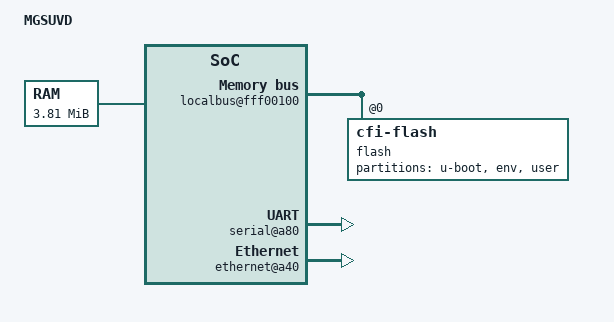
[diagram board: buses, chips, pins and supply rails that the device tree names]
/*
 * MGSUVD Device Tree Source
 *
 * Copyright 2008 DENX Software Engineering GmbH
 * Heiko Schocher <hs@denx.de>
 *
 * This program is free software; you can redistribute  it and/or modify it
 * under  the terms of  the GNU General  Public License as published by the
 * Free Software Foundation;  either version 2 of the  License, or (at your
 * option) any later version.
 */


/ {
	model = "MGSUVD";
	compatible = "keymile,mgsuvd";
	#address-cells = <1>;
	#size-cells = <1>;

	cpus {
		#address-cells = <1>;
		#size-cells = <0>;

		PowerPC,866@0 {
			device_type = "cpu";
			reg = <0>;
			d-cache-line-size = <d#16>;
			i-cache-line-size = <d#16>;
			d-cache-size = <d#8192>;
			i-cache-size = <d#8192>;
			timebase-frequency = <0>;  /* Filled in by u-boot */
			bus-frequency = <0>;  /* Filled in by u-boot */
			clock-frequency = <0>; /* Filled in by u-boot */
			interrupts = <f 2>;	// decrementer interrupt
			interrupt-parent = <&PIC>;
		};
	};

	memory {
		device_type = "memory";
		reg = <00000000 4000000>;  /* Filled in by u-boot */
	};

	localbus@fff00100 {
		compatible = "fsl,mpc885-localbus", "fsl,pq1-localbus";
		#address-cells = <2>;
		#size-cells = <1>;
		reg = <fff00100 40>;

		ranges = <
			0 0 f0000000 01000000
		>;  /* Filled in by u-boot */

		flash@0,0 {
			compatible = "cfi-flash";
			reg = <0 0 1000000>;
			#address-cells = <1>;
			#size-cells = <1>;
			bank-width = <1>;
			device-width = <1>;
			partition@0 {
				label = "u-boot";
				reg = <0 80000>;
			};
			partition@40000 {
				label = "env";
				reg = <80000 20000>;
			};
			partition@80000 {
				label = "user";
				reg = <a0000 f60000>;
			};
		};
	};

	soc@fff00000 {
		compatible = "fsl,mpc885", "fsl,pq1-soc";
		#address-cells = <1>;
		#size-cells = <1>;
		device_type = "soc";
		ranges = <0 fff00000 00004000>;

		// Temporary -- will go away once kernel uses ranges for get_immrbase().
		reg = <fff00000 4000>;

		PIC: interrupt-controller@0 {
			interrupt-controller;
			#interrupt-cells = <2>;
			reg = <0 24>;
			compatible = "fsl,mpc885-pic", "fsl,pq1-pic";
		};

		cpm@9c0 {
			#address-cells = <1>;
			#size-cells = <1>;
			compatible = "fsl,mpc885-cpm", "fsl,cpm1";
			command-proc = <9c0>;
			interrupts = <0>;	// cpm error interrupt
			interrupt-parent = <&CPM_PIC>;
			reg = <9c0 10>;
			ranges;

			muram@2000 {
				#address-cells = <1>;
				#size-cells = <1>;
				ranges = <0 2000 2000>;

				data@0 {
					compatible = "fsl,cpm-muram-data";
					reg = <800 1800>;
				};
			};

			brg@9f0 {
				compatible = "fsl,mpc885-brg",
				             "fsl,cpm1-brg",
				             "fsl,cpm-brg";
				reg = <9f0 10>;
				clock-frequency = <3ef1480>;
			};

			CPM_PIC: interrupt-controller@930 {
				interrupt-controller;
				#interrupt-cells = <1>;
				interrupts = <5 2 0 2 20 2>;
				interrupt-parent = <&PIC>;
				reg = <930 20>;
				compatible = "fsl,mpc885-cpm-pic",
				             "fsl,cpm1-pic";
			};

			// MON-1
			serial@a80 {
				device_type = "serial";
				compatible = "fsl,mpc885-smc-uart",
				             "cpm_uart",
				             "fsl,cpm1-smc-uart";
				model = "SMC";
				device-id = <1>;
				reg = <a80 10 3fc0 40>;
				interrupts = <4>;
				interrupt-parent = <&CPM_PIC>;
				fsl,cpm-brg = <1>;
				fsl,cpm-command = <0090>;
				current-speed = <0>; /* Filled in by u-boot */
			};

			ethernet@a40 {
				device_type = "network";
				compatible = "fs_enet",
				             "fsl,cpm1-scc-enet";
				model = "SCC";
				device-id = <3>;
				reg = <a40 18 3e00 b0>;
				mac-address = [ 00 00 00 00 00 00 ];  /* Filled in by u-boot */
				interrupts = <1c>;
				interrupt-parent = <&CPM_PIC>;
				fsl,cpm-command = <80>;
				fixed-link = <0 0 a 0 0>;
			};
		};
	};
};
